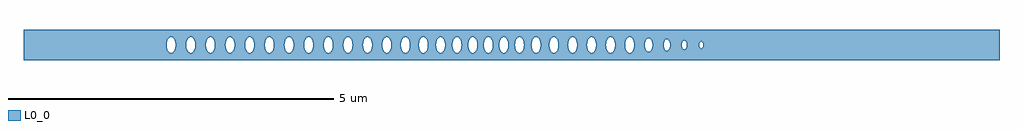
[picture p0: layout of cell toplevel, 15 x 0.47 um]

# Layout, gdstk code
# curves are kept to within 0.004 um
import gdstk
lib = gdstk.Library(unit=1e-6, precision=1e-09)
def P(c, l, *ps):  # polygons
    for p in ps: c.add(gdstk.Polygon(p, *l))
L0_0 = (0, 0)

toplevel = lib.new_cell('toplevel')
P(toplevel, L0_0, [(-4.697,0.016),(-4.693,0.046),(-4.676,0.09),(-4.676,0.235),(-7.5,0.235),(-7.5,-0.016),(-5.302,-0.016),(-5.299,0.038),(-5.289,0.073),(-5.266,0.109),(-5.236,0.124),(-5.21,0.118),(-5.18,0.085),(-5.163,0.031),(-5.162,-0.016),(-5,-0.016),(-4.997,0.038),(-4.987,0.073),(-4.964,0.109),(-4.934,0.124),(-4.908,0.118),(-4.881,0.09),(-4.864,0.046),(-4.859,0.008),(-4.861,-0.031),(-4.875,-0.079),(-4.896,-0.109),(-4.925,-0.124),(-4.951,-0.118),(-4.975,-0.096),(-4.987,-0.073),(-5,-0.016),(-5.162,-0.016),(-5.166,-0.046),(-5.183,-0.09),(-5.198,-0.109),(-5.227,-0.124),(-5.253,-0.118),(-5.277,-0.096),(-5.289,-0.073),(-5.302,-0.016),(-7.5,-0.016),(-7.5,-0.235),(-4.676,-0.235),(-4.676,-0.09),(-4.695,-0.038)],
  [(-4.669,0.1),(-4.649,0.118),(-4.632,0.124),(-4.614,0.122),(-4.594,0.109),(-4.566,0.06),(-4.557,-0.008),(-4.396,-0.008),(-4.391,0.046),(-4.374,0.09),(-4.347,0.118),(-4.33,0.124),(-4.312,0.122),(-4.288,0.105),(-4.268,0.073),(-4.258,0.038),(-4.255,-0.008),(-4.258,-0.038),(-4.274,-0.085),(-4.295,-0.112),(-4.321,-0.124),(-4.347,-0.118),(-4.374,-0.09),(-4.391,-0.046),(-4.396,-0.008),(-4.557,-0.008),(-4.573,-0.079),(-4.606,-0.118),(-4.623,-0.124),(-4.641,-0.122),(-4.658,-0.112),(-4.676,-0.09),(-4.676,-0.235),(-4.01,-0.235),(-4.01,-0.122),(-4.037,-0.122),(-4.068,-0.096),(-4.085,-0.06),(-4.094,-0.008),(-4.089,0.046),(-4.072,0.09),(-4.045,0.118),(-4.028,0.124),(-4.01,0.122),(-4.01,0.235),(-4.676,0.235),(-4.676,0.09)],
  [(-4.01,0.235),(-4.01,0.122),(-3.989,0.109),(-3.966,0.073),(-3.956,0.038),(-3.953,-0.008),(-3.792,-0.008),(-3.79,0.031),(-3.776,0.079),(-3.755,0.109),(-3.726,0.124),(-3.7,0.118),(-3.676,0.096),(-3.664,0.073),(-3.651,0.016),(-3.654,-0.038),(-3.664,-0.073),(-3.687,-0.109),(-3.717,-0.124),(-3.743,-0.118),(-3.77,-0.09),(-3.787,-0.046),(-3.792,-0.008),(-3.953,-0.008),(-3.966,-0.073),(-3.989,-0.109),(-4.01,-0.122),(-4.01,-0.235),(-3.355,-0.235),(-3.355,-0.054),(-3.385,-0.109),(-3.406,-0.122),(-3.432,-0.122),(-3.453,-0.109),(-3.471,-0.085),(-3.485,-0.046),(-3.49,-0.008),(-3.485,0.046),(-3.474,0.079),(-3.457,0.105),(-3.437,0.12),(-3.41,0.123),(-3.385,0.109),(-3.355,0.053),(-3.355,0.235)],
  [(-3.351,0.031),(-3.349,0),(-3.188,0),(-3.183,0.046),(-3.169,0.085),(-3.139,0.118),(-3.113,0.124),(-3.083,0.109),(-3.066,0.085),(-3.053,0.053),(-3.047,0),(-2.886,0),(-2.881,0.046),(-2.86,0.096),(-2.833,0.12),(-2.802,0.122),(-2.781,0.109),(-2.764,0.085),(-2.751,0.053),(-2.745,0.016),(-2.753,-0.06),(-2.77,-0.096),(-2.793,-0.118),(-2.828,-0.122),(-2.857,-0.1),(-2.877,-0.06),(-2.886,0),(-3.047,0),(-3.053,-0.053),(-3.066,-0.085),(-3.083,-0.109),(-3.113,-0.124),(-3.139,-0.118),(-3.169,-0.085),(-3.183,-0.046),(-3.188,0),(-3.349,0),(-3.355,-0.053),(-3.355,-0.235),(-2.581,-0.235),(-2.581,0.235),(-3.355,0.235)],
  [(-2.58,0.038),(-2.57,0.073),(-2.551,0.105),(-2.531,0.12),(-2.509,0.124),(-2.479,0.109),(-2.462,0.085),(-2.449,0.053),(-2.443,-0.008),(-2.283,-0.008),(-2.278,0.046),(-2.264,0.085),(-2.234,0.118),(-2.208,0.124),(-2.178,0.109),(-2.155,0.073),(-2.145,0.038),(-2.142,-0.016),(-2.155,-0.073),(-2.167,-0.096),(-2.186,-0.115),(-2.208,-0.124),(-2.234,-0.118),(-2.261,-0.09),(-2.278,-0.046),(-2.283,-0.008),(-2.443,-0.008),(-2.449,-0.053),(-2.468,-0.096),(-2.491,-0.118),(-2.509,-0.124),(-2.531,-0.12),(-2.551,-0.105),(-2.573,-0.066),(-2.581,-0.033),(-2.581,-0.235),(-1.938,-0.235),(-1.938,-0.118),(-1.962,-0.096),(-1.974,-0.073),(-1.987,-0.016),(-1.984,0.038),(-1.974,0.073),(-1.962,0.096),(-1.938,0.118),(-1.938,0.235),(-2.581,0.235)],
  [(-1.424,0.016),(-1.409,0.079),(-1.376,0.118),(-1.359,0.124),(-1.341,0.122),(-1.309,0.096),(-1.309,0.235),(-1.938,0.235),(-1.938,0.118),(-1.904,0.122),(-1.872,0.096),(-1.851,0.046),(-1.847,-0.016),(-1.7,-0.016),(-1.697,0.038),(-1.687,0.073),(-1.664,0.109),(-1.634,0.124),(-1.608,0.118),(-1.585,0.096),(-1.568,0.06),(-1.56,0.016),(-1.564,-0.046),(-1.573,-0.073),(-1.596,-0.109),(-1.626,-0.124),(-1.652,-0.118),(-1.675,-0.096),(-1.692,-0.06),(-1.7,-0.016),(-1.847,-0.016),(-1.857,-0.066),(-1.879,-0.105),(-1.912,-0.124),(-1.938,-0.118),(-1.938,-0.235),(-1.309,-0.235),(-1.309,-0.096),(-1.328,-0.115),(-1.35,-0.124),(-1.368,-0.122),(-1.388,-0.109),(-1.416,-0.06),(-1.424,-0.023)],
  [(-1.309,0.235),(-1.309,0.096),(-1.287,0.038),(-1.284,-0.016),(-1.161,-0.016),(-1.158,0.038),(-1.148,0.073),(-1.125,0.109),(-1.095,0.124),(-1.069,0.118),(-1.042,0.09),(-1.025,0.046),(-1.02,0),(-0.909,0),(-0.904,0.046),(-0.889,0.085),(-0.872,0.109),(-0.843,0.124),(-0.816,0.118),(-0.793,0.096),(-0.776,0.06),(-0.768,0.016),(-0.771,-0.038),(-0.781,-0.073),(-0.804,-0.109),(-0.834,-0.124),(-0.86,-0.118),(-0.883,-0.096),(-0.904,-0.046),(-0.909,0),(-1.02,0),(-1.025,-0.046),(-1.039,-0.085),(-1.057,-0.109),(-1.086,-0.124),(-1.112,-0.118),(-1.136,-0.096),(-1.148,-0.073),(-1.161,-0.016),(-1.284,-0.016),(-1.297,-0.073),(-1.309,-0.096),(-1.309,-0.235),(-0.665,-0.235),(-0.665,0.235)],
  [(-0.664,0.023),(-0.654,0.066),(-0.639,0.096),(-0.616,0.118),(-0.59,0.124),(-0.56,0.109),(-0.537,0.073),(-0.526,0.031),(-0.525,-0.016),(-0.426,-0.016),(-0.42,0.053),(-0.401,0.096),(-0.369,0.122),(-0.351,0.124),(-0.334,0.118),(-0.304,0.085),(-0.286,0.016),(-0.29,-0.046),(-0.304,-0.085),(-0.318,-0.105),(-0.351,-0.124),(-0.369,-0.122),(-0.39,-0.109),(-0.413,-0.073),(-0.426,-0.016),(-0.525,-0.016),(-0.537,-0.073),(-0.56,-0.109),(-0.581,-0.122),(-0.608,-0.122),(-0.628,-0.109),(-0.646,-0.085),(-0.66,-0.046),(-0.665,-0.008),(-0.665,-0.235),(-0.167,-0.235),(-0.167,-0.09),(-0.189,-0.016),(-0.186,0.038),(-0.167,0.09),(-0.167,0.235),(-0.665,0.235)],
  [(-0.16,0.1),(-0.132,0.122),(-0.105,0.122),(-0.081,0.105),(-0.064,0.079),(-0.053,0.046),(-0.048,0),(0.052,0),(0.057,0.046),(0.078,0.096),(0.105,0.12),(0.136,0.122),(0.161,0.105),(0.18,0.073),(0.19,0.038),(0.193,-0.016),(0.185,-0.06),(0.168,-0.096),(0.145,-0.118),(0.118,-0.124),(0.089,-0.109),(0.071,-0.085),(0.057,-0.046),(0.052,0),(-0.048,0),(-0.059,-0.066),(-0.085,-0.109),(-0.105,-0.122),(-0.132,-0.122),(-0.153,-0.109),(-0.167,-0.09),(-0.167,-0.235),(0.382,-0.235),(0.382,-0.124),(0.356,-0.118),(0.333,-0.096),(0.312,-0.046),(0.307,0),(0.312,0.046),(0.333,0.096),(0.356,0.118),(0.382,0.124),(0.382,0.235),(-0.167,0.235),(-0.167,0.09)],
  [(0.869,0.016),(0.887,0.085),(0.917,0.118),(0.934,0.124),(0.952,0.122),(0.973,0.109),(0.987,0.09),(0.987,0.235),(0.382,0.235),(0.382,0.124),(0.412,0.109),(0.429,0.085),(0.442,0.053),(0.448,-0.008),(0.581,-0.008),(0.583,0.031),(0.597,0.079),(0.618,0.109),(0.647,0.124),(0.678,0.115),(0.7,0.09),(0.717,0.046),(0.722,0.008),(0.719,-0.038),(0.709,-0.073),(0.686,-0.109),(0.656,-0.124),(0.63,-0.118),(0.603,-0.09),(0.586,-0.046),(0.581,-0.008),(0.448,-0.008),(0.442,-0.053),(0.423,-0.096),(0.4,-0.118),(0.382,-0.124),(0.382,-0.235),(0.987,-0.235),(0.987,-0.09),(0.973,-0.109),(0.948,-0.123),(0.926,-0.122),(0.905,-0.109),(0.877,-0.06)],
  [(1.452,0.016),(1.47,0.085),(1.488,0.109),(1.517,0.124),(1.544,0.118),(1.567,0.096),(1.584,0.06),(1.592,0.016),(1.592,0.235),(0.987,0.235),(0.987,0.09),(1.003,0.053),(1.009,-0.016),(1.16,-0.016),(1.163,0.038),(1.173,0.073),(1.196,0.109),(1.226,0.124),(1.252,0.118),(1.279,0.09),(1.296,0.046),(1.301,0.008),(1.299,-0.031),(1.285,-0.079),(1.264,-0.109),(1.235,-0.124),(1.209,-0.118),(1.185,-0.096),(1.173,-0.073),(1.16,-0.016),(1.009,-0.016),(1.001,-0.06),(0.987,-0.09),(0.987,-0.235),(1.592,-0.235),(1.592,-0.016),(1.584,-0.06),(1.567,-0.096),(1.544,-0.118),(1.517,-0.124),(1.488,-0.109),(1.47,-0.085),(1.456,-0.046)],
  [(2.338,0.011),(2.349,0.057),(2.372,0.085),(2.372,0.235),(1.592,0.235),(1.592,-0.016),(1.746,-0.016),(1.749,0.038),(1.759,0.073),(1.782,0.109),(1.812,0.124),(1.838,0.118),(1.868,0.085),(1.885,0.031),(1.886,-0.013),(2.048,-0.013),(2.059,0.063),(2.082,0.096),(2.108,0.107),(2.13,0.099),(2.15,0.078),(2.163,0.045),(2.169,0.007),(2.166,-0.033),(2.155,-0.068),(2.141,-0.09),(2.12,-0.105),(2.097,-0.105),(2.076,-0.09),(2.059,-0.063),(2.048,-0.013),(1.886,-0.013),(1.882,-0.046),(1.868,-0.085),(1.85,-0.109),(1.821,-0.124),(1.795,-0.118),(1.771,-0.096),(1.759,-0.073),(1.746,-0.016),(1.592,-0.016),(1.592,-0.235),(2.372,-0.235),(2.372,-0.085),(2.345,-0.048)],
  [(2.378,0.088),(2.404,0.085),(2.423,0.065),(2.436,0.028),(2.438,-0.013),(2.615,-0.013),(2.624,0.046),(2.64,0.067),(2.653,0.072),(2.673,0.065),(2.687,0.046),(2.696,-0.003),(2.884,-0.003),(2.894,0.04),(2.906,0.052),(2.919,0.054),(2.939,0.035),(2.946,-0.007),(2.935,-0.042),(2.925,-0.052),(2.911,-0.054),(2.891,-0.035),(2.884,-0.003),(2.696,-0.003),(2.687,-0.046),(2.673,-0.065),(2.658,-0.072),(2.634,-0.061),(2.615,-0.013),(2.438,-0.013),(2.431,-0.048),(2.418,-0.072),(2.397,-0.088),(2.372,-0.085),(2.372,-0.235),(7.5,-0.235),(7.5,0.235),(2.372,0.235),(2.372,0.085)])

lib.write_gds('toplevel.gds')
